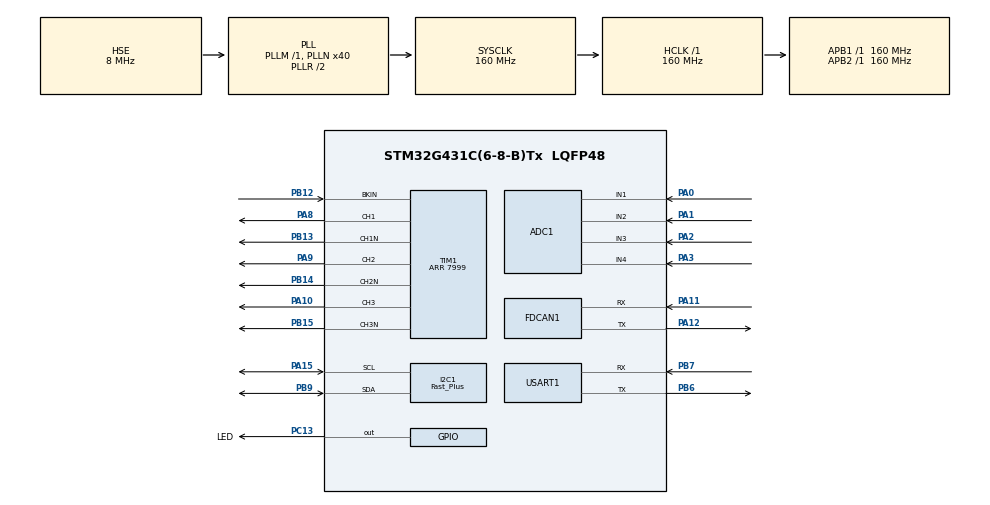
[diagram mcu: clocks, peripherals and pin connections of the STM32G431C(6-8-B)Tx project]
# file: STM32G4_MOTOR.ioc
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ADC1.EnableInjectedConversion=ENABLE
ADC1.EnableRegularConversion=DISABLE
ADC1.ExternalTrigInjecConv=ADC_EXTERNALTRIGINJEC_T1_CC4
ADC1.InjNumberOfConversion=4
ADC1.InjectedChannel-1\#ChannelInjectedConversion=ADC_CHANNEL_1
ADC1.InjectedChannel-2\#ChannelInjectedConversion=ADC_CHANNEL_2
ADC1.InjectedChannel-3\#ChannelInjectedConversion=ADC_CHANNEL_3
ADC1.InjectedChannel-4\#ChannelInjectedConversion=ADC_CHANNEL_4
ADC1.InjectedOffsetNumber-1\#ChannelInjectedConversion=ADC_OFFSET_NONE
ADC1.InjectedOffsetNumber-2\#ChannelInjectedConversion=ADC_OFFSET_NONE
ADC1.InjectedOffsetNumber-3\#ChannelInjectedConversion=ADC_OFFSET_NONE
ADC1.InjectedOffsetNumber-4\#ChannelInjectedConversion=ADC_OFFSET_NONE
ADC1.InjectedRank-1\#ChannelInjectedConversion=1
ADC1.InjectedRank-2\#ChannelInjectedConversion=2
ADC1.InjectedRank-3\#ChannelInjectedConversion=3
ADC1.InjectedRank-4\#ChannelInjectedConversion=4
ADC1.InjectedSamplingTime-1\#ChannelInjectedConversion=ADC_SAMPLETIME_12CYCLES_5
ADC1.InjectedSamplingTime-2\#ChannelInjectedConversion=ADC_SAMPLETIME_12CYCLES_5
ADC1.InjectedSamplingTime-3\#ChannelInjectedConversion=ADC_SAMPLETIME_12CYCLES_5
ADC1.InjectedSamplingTime-4\#ChannelInjectedConversion=ADC_SAMPLETIME_12CYCLES_5
ADC1.Rank1_Channel=ADC_CHANNEL_1
ADC1.Rank2_Channel=ADC_CHANNEL_2
ADC1.Rank3_Channel=ADC_CHANNEL_3
ADC1.Rank4_Channel=ADC_CHANNEL_4
ADC1.master=1
Dma.Request0=USART1_TX
Dma.USART1_TX.0.Direction=DMA_MEMORY_TO_PERIPH
Dma.USART1_TX.0.EventEnable=DISABLE
Dma.USART1_TX.0.Instance=DMA1_Channel1
Dma.USART1_TX.0.MemDataAlignment=DMA_MDATAALIGN_BYTE
Dma.USART1_TX.0.MemInc=DMA_MINC_ENABLE
Dma.USART1_TX.0.Mode=DMA_NORMAL
Dma.USART1_TX.0.PeriphDataAlignment=DMA_PDATAALIGN_BYTE
Dma.USART1_TX.0.PeriphInc=DMA_PINC_DISABLE
Dma.USART1_TX.0.Polarity=HAL_DMAMUX_REQ_GEN_RISING
Dma.USART1_TX.0.Priority=DMA_PRIORITY_LOW
Dma.USART1_TX.0.RequestNumber=1
Dma.USART1_TX.0.SignalID=NONE
Dma.USART1_TX.0.SyncEnable=DISABLE
Dma.USART1_TX.0.SyncPolarity=HAL_DMAMUX_SYNC_NO_EVENT
Dma.USART1_TX.0.SyncRequestNumber=1
Dma.USART1_TX.0.SyncSignalID=NONE
FDCAN1.CalculateBaudRateNominal=500000
FDCAN1.CalculateTimeBitNominal=2000
FDCAN1.CalculateTimeQuantumNominal=125.0
FDCAN1.DataPrescaler=8
FDCAN1.DataTimeSeg1=7
FDCAN1.DataTimeSeg2=2
FDCAN1.ExtFiltersNbr=1
FDCAN1.FrameFormat=FDCAN_FRAME_FD_BRS
FDCAN1.Mode=FDCAN_MODE_INTERNAL_LOOPBACK
FDCAN1.NominalPrescaler=20
FDCAN1.NominalTimeSeg1=11
FDCAN1.NominalTimeSeg2=4
FDCAN1.StdFiltersNbr=1
I2C1.I2C_Coeff_DF=2
I2C1.I2C_Fall_Time=10
I2C1.I2C_Rise_Time=10
I2C1.I2C_Speed_Mode=I2C_Fast_Plus
I2C1.Timing=0x00901E65
Mcu.Family=STM32G4
Mcu.Name=STM32G431C(6-8-B)Tx
Mcu.Package=LQFP48
NVIC.ADC1_2_IRQn=true\:0\:0\:false\:false\:true\:true\:true\:true
NVIC.DMA1_Channel1_IRQn=true\:0\:0\:false\:false\:true\:false\:true\:true
NVIC.FDCAN1_IT0_IRQn=true\:0\:0\:false\:false\:true\:true\:true\:true
NVIC.PriorityGroup=NVIC_PRIORITYGROUP_4
NVIC.TIM6_DAC_IRQn=true\:0\:0\:false\:false\:true\:true\:true\:true
NVIC.USART1_IRQn=true\:0\:0\:false\:false\:true\:true\:true\:true
PA0.Mode=IN1-Single-Ended
PA0.Signal=ADC1_IN1
PA1.Mode=IN2-Single-Ended
PA1.Signal=ADC1_IN2
PA10.Signal=S_TIM1_CH3
PA11.Mode=FDCAN_Activate
PA11.Signal=FDCAN1_RX
PA12.Mode=FDCAN_Activate
PA12.Signal=FDCAN1_TX
PA13.Mode=Serial_Wire
PA13.Signal=SYS_JTMS-SWDIO
PA14.Mode=Serial_Wire
PA14.Signal=SYS_JTCK-SWCLK
PA15.Mode=I2C
PA15.Signal=I2C1_SCL
PA2.Mode=IN3-Single-Ended
PA2.Signal=ADC1_IN3
PA3.Mode=IN4-Single-Ended
PA3.Signal=ADC1_IN4
PA8.Signal=S_TIM1_CH1
PA9.Signal=S_TIM1_CH2
PB12.GPIO_PuPd=GPIO_PULLUP
PB12.Mode=Activate-Break-Input
PB12.Signal=TIM1_BKIN
PB13.Mode=PWM Generation1 CH1 CH1N
PB13.Signal=TIM1_CH1N
PB14.Mode=PWM Generation2 CH2 CH2N
PB14.Signal=TIM1_CH2N
PB15.Mode=PWM Generation3 CH3 CH3N
PB15.Signal=TIM1_CH3N
PB6.Mode=Asynchronous
PB6.Signal=USART1_TX
PB7.Mode=Asynchronous
PB7.Signal=USART1_RX
PB9.Mode=I2C
PB9.Signal=I2C1_SDA
PC13.GPIO_Label=LED
PC13.Signal=GPIO_Output
PF0-OSC_IN.Mode=HSE-External-Oscillator
PF0-OSC_IN.Signal=RCC_OSC_IN
PF1-OSC_OUT.Mode=HSE-External-Oscillator
PF1-OSC_OUT.Signal=RCC_OSC_OUT
ProjectManager.HeapSize=0x400
ProjectManager.StackSize=0x400
ProjectManager.TargetToolchain=STM32CubeIDE
RCC.ADC12Freq_Value=160000000
RCC.AHBFreq_Value=160000000
RCC.APB1Freq_Value=160000000
RCC.APB1TimFreq_Value=160000000
RCC.APB2Freq_Value=160000000
RCC.APB2TimFreq_Value=160000000
RCC.CortexFreq_Value=160000000
RCC.EXTERNAL_CLOCK_VALUE=12288000
RCC.FDCANCLockSelection=RCC_FDCANCLKSOURCE_PLL
RCC.HCLKFreq_Value=160000000
RCC.HSE_VALUE=8000000
RCC.HSI48_VALUE=48000000
RCC.HSI_VALUE=16000000
RCC.LSE_VALUE=32768
RCC.PLLN=40
RCC.PLLSourceVirtual=RCC_PLLSOURCE_HSE
RCC.SYSCLKFreq_VALUE=160000000
RCC.SYSCLKSource=RCC_SYSCLKSOURCE_PLLCLK
RCC.USBFreq_Value=160000000
RCC.VCOOutputFreq_Value=320000000
SH.S_TIM1_CH1.0=TIM1_CH1,PWM Generation1 CH1 CH1N
SH.S_TIM1_CH2.0=TIM1_CH2,PWM Generation2 CH2 CH2N
SH.S_TIM1_CH3.0=TIM1_CH3,PWM Generation3 CH3 CH3N
STMicroelectronics.X-CUBE-ALGOBUILD.1.4.0.LibraryCcDSPOoLibraryJjDSPOoLibrary=true
TIM1.AutoReloadPreload=TIM_AUTORELOAD_PRELOAD_ENABLE
TIM1.AutomaticOutput=TIM_AUTOMATICOUTPUT_ENABLE
TIM1.BreakFilter=10
TIM1.BreakPolarity=TIM_BREAKPOLARITY_LOW
TIM1.Channel-PWM\ Generation1\ CH1\ CH1N=TIM_CHANNEL_1
TIM1.Channel-PWM\ Generation2\ CH2\ CH2N=TIM_CHANNEL_2
TIM1.Channel-PWM\ Generation3\ CH3\ CH3N=TIM_CHANNEL_3
TIM1.Channel-PWM\ Generation4\ No\ Output=TIM_CHANNEL_4
TIM1.CounterMode=TIM_COUNTERMODE_CENTERALIGNED1
TIM1.DeadTime=100
TIM1.OffStateIDLEMode=TIM_OSSI_ENABLE
TIM1.OffStateRunMode=TIM_OSSR_ENABLE
TIM1.PeriodNoDither=7999
TIM1.PulseNoDither_4=7900
TIM1.TIM_MasterOutputTrigger=TIM_TRGO_OC4REF
TIM6.AutoReloadPreload=TIM_AUTORELOAD_PRELOAD_ENABLE
TIM6.PeriodNoDither=99
TIM6.Prescaler=159
TIM6.TIM_MasterOutputTrigger=TIM_TRGO_UPDATE
USART1.DMADisableonRxErrorParam=ADVFEATURE_DMA_DISABLEONRXERROR
USART1.OverrunDisableParam=ADVFEATURE_OVERRUN_DISABLE
USART1.VirtualMode-Asynchronous=VM_ASYNC
VP_STMicroelectronics.X-CUBE-ALGOBUILD_VS_DSPOoLibraryJjLibrary_1.4.0_1.4.0.Mode=DSPOoLibraryJjLibrary
VP_SYS_VS_DBSignals.Mode=DisableDeadBatterySignals
VP_TIM1_VS_ClockSourceINT.Mode=Internal
VP_TIM1_VS_no_output4.Mode=PWM Generation4 No Output
VP_TIM6_VS_ClockSourceINT.Mode=Enable_Timer
board=custom

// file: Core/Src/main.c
/* USER CODE BEGIN Header */
/**
  ******************************************************************************
  * @file           : main.c
  * @brief          : Main program body
  ******************************************************************************
  * @attention
  *
  * Copyright (c) 2026 STMicroelectronics.
  * All rights reserved.
  *
  * This software is licensed under terms that can be found in the LICENSE file
  * in the root directory of this software component.
  * If no LICENSE file comes with this software, it is provided AS-IS.
  *
  ******************************************************************************
  */
/* USER CODE END Header */
#include "main.h"
#include "adc.h"
#include "dma.h"
#include "fdcan.h"
#include "i2c.h"
#include "tim.h"
#include "usart.h"
#include "gpio.h"

/* USER CODE BEGIN Includes */
#include "debug.h"
#include "arm_math.h"
/* USER CODE END Includes */

void SystemClock_Config(void);

/* USER CODE BEGIN 0 */
void Motor_SetDuty(uint16_t duty)
{
  if(duty > 7999) duty = 7999;
  __HAL_TIM_SET_COMPARE(&htim1, TIM_CHANNEL_1, duty);
  __HAL_TIM_SET_COMPARE(&htim1, TIM_CHANNEL_2, duty);
  __HAL_TIM_SET_COMPARE(&htim1, TIM_CHANNEL_3, duty);
}
void Motor_CheckBreak(void)
{
  if(__HAL_TIM_GET_FLAG(&htim1, TIM_FLAG_BREAK) != RESET)
  {
    if(HAL_GPIO_ReadPin(GPIOB, GPIO_PIN_12) == GPIO_PIN_SET)
    {
      __HAL_TIM_CLEAR_FLAG(&htim1, TIM_FLAG_BREAK);

      HAL_TIM_PWM_Start(&htim1, TIM_CHANNEL_1);
      HAL_TIM_PWM_Start(&htim1, TIM_CHANNEL_2);
      HAL_TIM_PWM_Start(&htim1, TIM_CHANNEL_3);
      HAL_TIMEx_PWMN_Start(&htim1, TIM_CHANNEL_1);
      HAL_TIMEx_PWMN_Start(&htim1, TIM_CHANNEL_2);
      HAL_TIMEx_PWMN_Start(&htim1, TIM_CHANNEL_3);

      debug("Break Release!\r\n");
    }
  }
}
FDCAN_RxHeaderTypeDef RxHeader;
uint8_t TxData[64];
uint8_t RxData[64];
void FDCAN1_Config(void)
{
  FDCAN_FilterTypeDef sFilterConfig;

  sFilterConfig.IdType = FDCAN_STANDARD_ID;
  sFilterConfig.FilterIndex = 0;
  sFilterConfig.FilterType = FDCAN_FILTER_RANGE;
  sFilterConfig.FilterConfig = FDCAN_FILTER_TO_RXFIFO0;
  sFilterConfig.FilterID1 = 0x000;
  sFilterConfig.FilterID2 = 0x7FF;

  if (HAL_FDCAN_ConfigFilter(&hfdcan1, &sFilterConfig) != HAL_OK)
  {
    Error_Handler();
  }

   if (HAL_FDCAN_ActivateNotification(&hfdcan1, FDCAN_IT_RX_FIFO0_NEW_MESSAGE, 0) != HAL_OK)
  {
    Error_Handler();
  }

  HAL_FDCAN_Start(&hfdcan1);

}
void FDCAN_BusOff_Recovery(void)
{
    HAL_FDCAN_Stop(&hfdcan1);

    __HAL_FDCAN_CLEAR_FLAG(&hfdcan1, FDCAN_FLAG_BUS_OFF);
    __HAL_FDCAN_CLEAR_FLAG(&hfdcan1, FDCAN_FLAG_ERROR_PASSIVE);
    __HAL_FDCAN_CLEAR_FLAG(&hfdcan1, FDCAN_FLAG_ERROR_WARNING);

    hfdcan1.Instance->TXFQS |= FDCAN_TXFQS_TFQF;

    hfdcan1.Instance->RXF0S |= FDCAN_RXF0S_F0F;
    hfdcan1.Instance->RXF1S |= FDCAN_RXF1S_F1F;

    hfdcan1.Instance->CCCR |= FDCAN_CCCR_CCE;
    hfdcan1.Instance->ECR = 0;
    hfdcan1.Instance->CCCR &= ~FDCAN_CCCR_CCE;

    HAL_FDCAN_Init(&hfdcan1);
    HAL_FDCAN_Start(&hfdcan1);
}
HAL_StatusTypeDef FDCAN_Send_Frame(uint32_t id, uint8_t *data, uint8_t len)
{
  HAL_StatusTypeDef ret;
  FDCAN_TxHeaderTypeDef TxHeader = {0};
  uint32_t dlc;

  if(len <= 8)       dlc = (uint32_t)len;
  else if(len <= 12) dlc = FDCAN_DLC_BYTES_12;
  else if(len <= 16) dlc = FDCAN_DLC_BYTES_16;
  else if(len <= 20) dlc = FDCAN_DLC_BYTES_20;
  else if(len <= 24) dlc = FDCAN_DLC_BYTES_24;
  else if(len <= 32) dlc = FDCAN_DLC_BYTES_32;
  else if(len <= 48) dlc = FDCAN_DLC_BYTES_48;
  else               dlc = FDCAN_DLC_BYTES_64;

  TxHeader.Identifier = id;
  TxHeader.IdType = FDCAN_STANDARD_ID;
  TxHeader.TxFrameType = FDCAN_DATA_FRAME;
  TxHeader.DataLength = dlc;
  TxHeader.ErrorStateIndicator = FDCAN_ESI_ACTIVE;
  TxHeader.BitRateSwitch = FDCAN_BRS_ON;
  TxHeader.FDFormat = FDCAN_FD_CAN;
  TxHeader.TxEventFifoControl = FDCAN_NO_TX_EVENTS;
  TxHeader.MessageMarker = 33;

  ret = HAL_FDCAN_AddMessageToTxFifoQ(&hfdcan1, &TxHeader, data);
  if (ret == HAL_ERROR)
  {
	  FDCAN_BusOff_Recovery();
	  ret = HAL_OK;
  }

  return ret;
}

/* USER CODE END 0 */

int main(void)
{

  /* MCU Configuration--------------------------------------------------------*/

  /* Reset of all peripherals, Initializes the Flash interface and the Systick. */
  HAL_Init();

  /* Configure the system clock */
  SystemClock_Config();

  /* Initialize all configured peripherals */
  MX_GPIO_Init();
  MX_DMA_Init();
  MX_TIM6_Init();
  MX_USART1_UART_Init();
  MX_TIM1_Init();
  MX_ADC1_Init();
  MX_FDCAN1_Init();
  MX_I2C1_Init();
  /* USER CODE BEGIN 2 */
  HAL_TIM_Base_Start_IT(&htim6);

  HAL_TIM_Base_Start(&htim1);
  HAL_TIM_PWM_Start(&htim1, TIM_CHANNEL_1);
  HAL_TIM_PWM_Start(&htim1, TIM_CHANNEL_2);
  HAL_TIM_PWM_Start(&htim1, TIM_CHANNEL_3);
  HAL_TIMEx_PWMN_Start(&htim1, TIM_CHANNEL_1);
  HAL_TIMEx_PWMN_Start(&htim1, TIM_CHANNEL_2);
  HAL_TIMEx_PWMN_Start(&htim1, TIM_CHANNEL_3);

  HAL_TIM_PWM_Start(&htim1, TIM_CHANNEL_4);
  HAL_ADCEx_Calibration_Start(&hadc1, ADC_SINGLE_ENDED);
  HAL_ADCEx_InjectedStart(&hadc1);
  HAL_ADC_Start_IT(&hadc1);
  __HAL_ADC_ENABLE_IT(&hadc1, ADC_IT_JEOC);

	FDCAN1_Config();

  /* USER CODE END 2 */

  /* Infinite loop */
  /* USER CODE BEGIN WHILE */
  while (1)
  {
#if 0
    HAL_GPIO_TogglePin(LED_GPIO_Port, LED_Pin);
    HAL_Delay(500);
#endif

#if 0
    static float x = 0.0f;
    x += 0.01f;
    debug("Current x = %.2f\t\n", x);
    HAL_Delay(100);
#endif

#if 0
    static uint16_t pwm_duty = 2000;
    Motor_CheckBreak();
    Motor_SetDuty(pwm_duty);
    HAL_Delay(50);
#endif

#if 0
    __HAL_TIM_SET_COMPARE(&htim1, TIM_CHANNEL_1, 4000);
    __HAL_TIM_SET_COMPARE(&htim1, TIM_CHANNEL_2, 2000);
    __HAL_TIM_SET_COMPARE(&htim1, TIM_CHANNEL_3, 3600);
    extern float vin_adc, temp_adc, v_adc, u_adc;
    debug("vin_adc:%.3fV | temp_adc:%.3fV | v_adc:%.3fV | u_adc:%.3fV\r\n", vin_adc, temp_adc, v_adc, u_adc);
    HAL_Delay(100);
#endif

#if 0
    static uint8_t fdcan_Data = 0;
    TxData[0] = fdcan_Data++;
    FDCAN_Send_Frame(0x222, TxData, 32);
    FDCAN_Send_Frame(0x666, TxData, 64);
    HAL_Delay(500);
#endif

#if 0
    float testData;
    testData = arm_sin_f32(3.1415926535897932384626/4); // sin(PI/4)
    debug("---%.6f---", testData);
    HAL_Delay(500);
#endif

#if 1
    uint8_t Data[2];
    float Angle;
    HAL_StatusTypeDef ret;
    ret = HAL_I2C_Mem_Read(&hi2c1, 0x6C, 0x0C, I2C_MEMADD_SIZE_8BIT, Data, 2, 1);
    if (ret == HAL_OK)
    {
    	Angle = ((Data[0] << 8) | Data[1]) * 360.0f / 4096.0f;
      debug("---%.2f---", Angle);
    }
    else
    {
    	debug("---Error---");
    }
    HAL_Delay(100);
#endif

    /* USER CODE END WHILE */

  }
}

void SystemClock_Config(void)
{
  RCC_OscInitTypeDef RCC_OscInitStruct = {0};
  RCC_ClkInitTypeDef RCC_ClkInitStruct = {0};

  /** Configure the main internal regulator output voltage
  */
  HAL_PWREx_ControlVoltageScaling(PWR_REGULATOR_VOLTAGE_SCALE1_BOOST);

  /** Initializes the RCC Oscillators according to the specified parameters
  * in the RCC_OscInitTypeDef structure.
  */
  RCC_OscInitStruct.OscillatorType = RCC_OSCILLATORTYPE_HSE;
  RCC_OscInitStruct.HSEState = RCC_HSE_ON;
  RCC_OscInitStruct.PLL.PLLState = RCC_PLL_ON;
  RCC_OscInitStruct.PLL.PLLSource = RCC_PLLSOURCE_HSE;
  RCC_OscInitStruct.PLL.PLLM = RCC_PLLM_DIV1;
  RCC_OscInitStruct.PLL.PLLN = 40;
  RCC_OscInitStruct.PLL.PLLP = RCC_PLLP_DIV2;
  RCC_OscInitStruct.PLL.PLLQ = RCC_PLLQ_DIV2;
  RCC_OscInitStruct.PLL.PLLR = RCC_PLLR_DIV2;
  if (HAL_RCC_OscConfig(&RCC_OscInitStruct) != HAL_OK)
  {
    Error_Handler();
  }

  /** Initializes the CPU, AHB and APB buses clocks
  */
  RCC_ClkInitStruct.ClockType = RCC_CLOCKTYPE_HCLK|RCC_CLOCKTYPE_SYSCLK
                              |RCC_CLOCKTYPE_PCLK1|RCC_CLOCKTYPE_PCLK2;
  RCC_ClkInitStruct.SYSCLKSource = RCC_SYSCLKSOURCE_PLLCLK;
  RCC_ClkInitStruct.AHBCLKDivider = RCC_SYSCLK_DIV1;
  RCC_ClkInitStruct.APB1CLKDivider = RCC_HCLK_DIV1;
  RCC_ClkInitStruct.APB2CLKDivider = RCC_HCLK_DIV1;

  if (HAL_RCC_ClockConfig(&RCC_ClkInitStruct, FLASH_LATENCY_4) != HAL_OK)
  {
    Error_Handler();
  }
}

void Error_Handler(void)
{
  __disable_irq();
  while (1)
  {
  }
}
